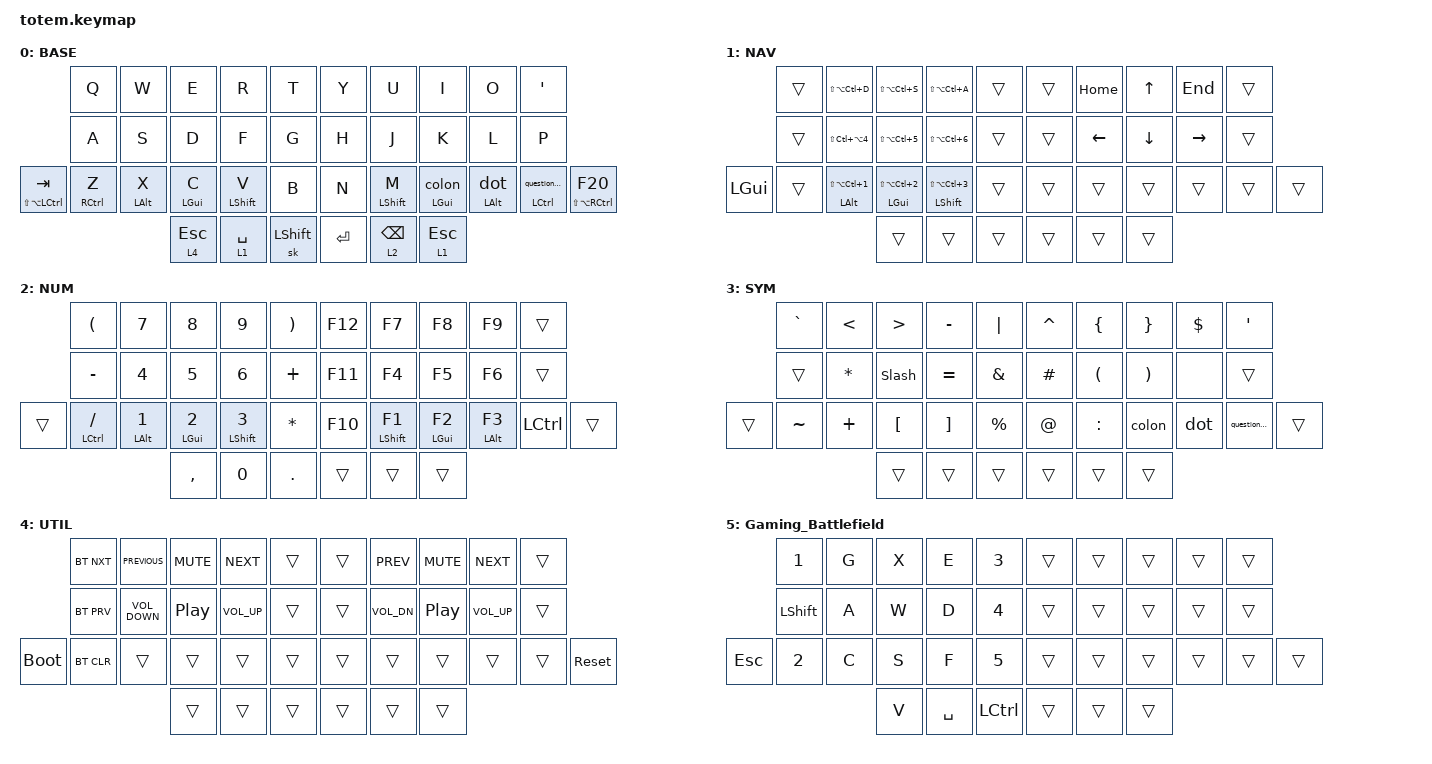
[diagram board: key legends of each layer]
//
//                                                        ▀▀▀▀▀     ▀▀▀▀▀          ▀▀█▀▀
//                                                        ▄▀▀▀▄  ▄  ▄▀▀▀▄  ▄  ▄▀▀▀▄  █  ▄▀▀▀▄
//                                                        █   █  █  █   █  █  █   █  █  █   █
//                                                         ▀▀▀   █   ▀▀▀   █   ▀▀▀   ▀   ▀▀▀
//                                                               █      ▄▄▄█▄▄▄    █   █  
//                                                               ▀      █  █  █     █▄█
//                                                             ▀▀▀▀▀    █  █  █      ▀
//                                                                      ▀  ▀  ▀
//
// ▄▄▄▄▄▄▄▄▄▄▄▄▄▄▄▄▄▄▄▄▄▄▄▄▄▄▄▄▄▄▄▄▄▄▄▄▄▄▄▄▄▄▄▄▄▄▄▄▄▄▄▄▄▄▄▄▄▄▄▄▄▄▄▄▄▄▄▄▄▄▄▄▄▄▄▄▄▄▄▄▄▄▄▄▄▄▄▄▄▄▄▄▄▄▄▄▄▄▄▄▄▄▄▄▄▄▄▄▄▄▄▄▄▄▄▄▄▄▄▄▄▄▄▄▄▄▄▄▄▄▄▄▄▄▄▄▄▄▄▄▄▄▄▄▄▄▄▄▄

#include <behaviors.dtsi>
#include <dt-bindings/zmk/bt.h>
#include <dt-bindings/zmk/keys.h>

#define BASE 0
#define NAV  1
#define SYM  2
#define ADJ  3
#define TVP1 4
#define TVP2 5

&mt {
    quick-tap-ms = <100>;
    global-quick-tap;
    flavor = "tap-preferred";
    tapping-term-ms = <170>;
};

&lt { quick-tap-ms = <220>; };

/ {
    combos {
        compatible = "zmk,combos";

        Copy {
            bindings = <&kp LG(C)>;
            key-positions = <22 23>;
            timeout-ms = <25>;
        };

        Paste {
            bindings = <&kp LG(V)>;
            key-positions = <23 24>;
            timeout-ms = <25>;
        };

        Cut {
            bindings = <&kp LG(X)>;
            key-positions = <22 24>;
        };

        CapsLock {
            bindings = <&kp CAPSLOCK>;
            key-positions = <11 12 13 10>;
        };

        Hyper {
            bindings = <&sk LS(LA(LC(LEFT_GUI)))>;
            key-positions = <20 33>;
        };

        Smileys {
            bindings = <&kp LC(LG(SPACE))>;
            key-positions = <11 12>;
            timeout-ms = <25>;
        };

        Spotlight {
            bindings = <&kp LG(SPACE)>;
            key-positions = <12 13>;
            timeout-ms = <25>;
        };

        BF6_Grenade {
            bindings = <&kp R>;
            key-positions = <11 12 13>;
            layers = <5>;
        };

        BracketOpen {
            bindings = <&kp LEFT_BRACKET>;
            key-positions = <6 7>;
            timeout-ms = <25>;
        };

        BracketClosed {
            bindings = <&kp RIGHT_BRACKET>;
            key-positions = <7 8>;
            timeout-ms = <25>;
        };

        BraceOpen {
            bindings = <&kp LEFT_PARENTHESIS>;
            key-positions = <16 17>;
            timeout-ms = <25>;
        };

        BraceClosed {
            bindings = <&kp RIGHT_PARENTHESIS>;
            key-positions = <17 18>;
            timeout-ms = <25>;
        };

        CurlyOpen {
            bindings = <&kp LEFT_BRACE>;
            key-positions = <27 28>;
            timeout-ms = <25>;
        };

        CurlyClosed {
            bindings = <&kp RIGHT_BRACE>;
            key-positions = <29 28>;
            timeout-ms = <25>;
        };

        LesserThan {
            bindings = <&kp LESS_THAN>;
            key-positions = <15 16>;
            timeout-ms = <25>;
        };

        GreaterThan {
            bindings = <&kp GREATER_THAN>;
            key-positions = <18 19>;
            timeout-ms = <25>;
        };

        Caret {
            bindings = <&kp CARET>;
            key-positions = <5 15>;
        };

        Underscore {
            bindings = <&kp UNDERSCORE>;
            key-positions = <15 26>;
        };

        Plus {
            bindings = <&kp PLUS>;
            key-positions = <6 16>;
        };

        Minus {
            bindings = <&kp MINUS>;
            key-positions = <16 27>;
        };

        Asterix {
            bindings = <&kp ASTERISK>;
            key-positions = <7 17>;
        };

        Slash {
            bindings = <&kp SLASH>;
            key-positions = <17 28>;
        };

        Ampersand {
            bindings = <&kp AMPERSAND>;
            key-positions = <8 18>;
        };

        Pipe {
            bindings = <&kp PIPE>;
            key-positions = <18 29>;
        };

        At {
            bindings = <&kp AT_SIGN>;
            key-positions = <1 11>;
        };

        Hash {
            bindings = <&kp HASH>;
            key-positions = <2 12>;
        };

        Dollar {
            bindings = <&kp DOLLAR>;
            key-positions = <3 13>;
        };

        Percent {
            bindings = <&kp PERCENT>;
            key-positions = <4 14>;
        };

        Grave {
            bindings = <&kp GRAVE>;
            key-positions = <11 22>;
        };

        Backslash {
            bindings = <&kp BACKSLASH>;
            key-positions = <23 12>;
        };

        Equal {
            bindings = <&kp EQUAL>;
            key-positions = <13 24>;
        };

        Tilde {
            bindings = <&kp TILDE>;
            key-positions = <14 25>;
        };

        Gaming_Layer {
            bindings = <&tog 5>;
            key-positions = <16 17 18>;
        };

        Screenshot {
            bindings = <&kp LG(LC(LS(NUMBER_4)))>;
            key-positions = <1 2 3>;
        };
    };

    macros {
        gif: gif {
            label = "giphy";
            compatible = "zmk,behavior-macro";
            #binding-cells = <0>;
            bindings =
                <&macro_press>,
                <&kp LSHFT>,
                <&macro_tap>,
                <&kp N2>,
                <&macro_release>,
                <&kp LSHFT>,
                <&macro_tap>,
                <&kp G &kp I &kp F>;
        };
    };

    behaviors {
        dot: dot {
            compatible = "zmk,behavior-mod-morph";
            label = "DOT";
            bindings = <&kp PERIOD>, <&kp COLON>;

            #binding-cells = <0>;
            mods = <(MOD_LSFT)>;
        };

        colon: colon {
            compatible = "zmk,behavior-mod-morph";
            label = "COLON";
            bindings = <&kp COMMA>, <&kp SEMICOLON>;

            #binding-cells = <0>;
            mods = <(MOD_LSFT)>;
        };

        questionmark: questionmark {
            compatible = "zmk,behavior-mod-morph";
            label = "QUESTIONMARK";
            bindings = <&kp QUESTION>, <&kp EXCLAMATION>;

            #binding-cells = <0>;
            mods = <(MOD_LSFT)>;
        };

        HoldTapHRM: HoldTapHRM {
            compatible = "zmk,behavior-hold-tap";
            label = "HOLDTAPHRM";
            bindings = <&kp>, <&kp>;

            #binding-cells = <2>;
            tapping-term-ms = <280>;
            quick-tap-ms = <175>;
            require-prior-idle-ms = <150>;
            flavor = "balanced";
            hold-trigger-on-release;
        };

        Slash: Slash {
            compatible = "zmk,behavior-mod-morph";
            label = "SLASH";
            bindings = <&kp SLASH>, <&kp BACKSLASH>;

            #binding-cells = <0>;
            mods = <(MOD_LSFT)>;
        };

        HoldTapDot: HoldTapDot {
            compatible = "zmk,behavior-hold-tap";
            label = "HOLDTAPDOT";
            bindings = <&kp>, <&dot>;

            #binding-cells = <2>;
            tapping-term-ms = <280>;
            hold-trigger-on-release;
            flavor = "balanced";
            require-prior-idle-ms = <150>;
            quick-tap-ms = <175>;
        };

        HoldTapColon: HoldTapColon {
            compatible = "zmk,behavior-hold-tap";
            label = "HOLDTAPCOLON";
            bindings = <&kp>, <&colon>;

            #binding-cells = <2>;
            tapping-term-ms = <280>;
            quick-tap-ms = <175>;
            require-prior-idle-ms = <150>;
            flavor = "balanced";
            hold-trigger-on-release;
        };

        HoldTapQuestion: HoldTapQuestion {
            compatible = "zmk,behavior-hold-tap";
            label = "HOLDTAPQUESTION";
            bindings = <&kp>, <&questionmark>;

            #binding-cells = <2>;
            tapping-term-ms = <280>;
            quick-tap-ms = <175>;
            require-prior-idle-ms = <150>;
            flavor = "balanced";
            hold-trigger-on-release;
        };

        TabAero: TabAero {
            compatible = "zmk,behavior-hold-tap";
            label = "TABAERO";
            bindings = <&kp>, <&kp>;

            #binding-cells = <2>;
            tapping-term-ms = <200>;
            quick-tap-ms = <0>;
            require-prior-idle-ms = <0>;
            flavor = "hold-preferred";
        };
    };

    keymap {
        compatible = "zmk,keymap";

        // ▄▄▄▄▄▄▄▄▄▄▄▄▄▄▄▄▄▄▄▄▄▄▄▄▄▄▄▄▄▄▄▄▄▄▄▄▄▄▄▄▄▄▄▄▄▄▄▄▄▄▄▄▄▄▄▄▄▄▄▄▄▄▄▄▄▄▄▄▄▄▄▄▄▄▄▄▄▄▄▄▄▄▄▄▄▄▄▄▄▄▄▄▄▄▄▄▄▄▄▄▄▄▄▄▄▄▄▄▄▄▄▄▄▄▄▄▄▄▄▄▄▄▄▄▄▄▄▄▄▄▄▄▄▄▄▄▄▄▄▄▄▄▄▄▄▄▄▄▄

        Colemak-DH {
            // ┏━━━━━━━━━━━━━━━━━━━━━━━━━━━━━━━━━━━━━━━┓

            label = "BASE";

            // ┗━━━━━━━━━━━━━━━━━━━━━━━━━━━━━━━━━━━━━━━┛
            //             ┏━━━━━━━━━━━┳━━━━━━━━━━━┳━━━━━━━━━━━┳━━━━━━━━━━━┳━━━━━━━━━━━┓   ┏━━━━━━━━━━━┳━━━━━━━━━━━┳━━━━━━━━━━━┳━━━━━━━━━━━┳━━━━━━━━━━━┓
            //             ┃     Q     ┃     W     ┃     F     ┃     P     ┃     G     ┃   ┃     J     ┃     L     ┃     U     ┃     Y     ┃     ;     ┃
            //             ┣━━━━━━━━━━━╋━━━━━━━━━━━╋━━━━━━━━━━━╋━━━━━━━━━━━╋━━━━━━━━━━━┫   ┣━━━━━━━━━━━╋━━━━━━━━━━━╋━━━━━━━━━━━╋━━━━━━━━━━━╋━━━━━━━━━━━┫
            //             ┃     A     ┃     R     ┃     S     ┃     T     ┃     D     ┃   ┃     H     ┃     N     ┃     E     ┃     I     ┃     O     ┃
            // ┏━━━━━━━━━━━╋━━━━━━━━━━━╋━━━━━━━━━━━╋━━━━━━━━━━━╋━━━━━━━━━━━╋━━━━━━━━━━━┫   ┣━━━━━━━━━━━╋━━━━━━━━━━━╋━━━━━━━━━━━╋━━━━━━━━━━━╋━━━━━━━━━━━╋━━━━━━━━━━━┓
            // ┃     Q     ┃     Z     ┃     X     ┃     C     ┃     V     ┃     B     ┃   ┃     K     ┃     M     ┃     ,     ┃     .     ┃     /     ┃     \     ┃
            // ┗━━━━━━━━━━━┻━━━━━━━━━━━┻━━━━━━━━━━━╋━━━━━━━━━━━╋━━━━━━━━━━━╋━━━━━━━━━━━┫   ┣━━━━━━━━━━━╋━━━━━━━━━━━╋━━━━━━━━━━━╋━━━━━━━━━━━┻━━━━━━━━━━━┻━━━━━━━━━━━┛
            //                                     ┃    DEL    ┃    TAB    ┃    SPC    ┃   ┃   ENTER   ┃           ┃   BSPC    ┃
            //                                     ┗━━━━━━━━━━━┻━━━━━━━━━━━┻━━━━━━━━━━━┛   ┗━━━━━━━━━━━┻━━━━━━━━━━━┻━━━━━━━━━━━┛

            bindings = <
                            &kp Q                &kp W                   &kp E                   &kp R                     &kp T             &kp Y      &kp U                     &kp I                     &kp O                   &kp APOSTROPHE
                            &kp A                &kp S                   &kp D                   &kp F                     &kp G             &kp H      &kp J                     &kp K                     &kp L                   &kp P
&TabAero LS(LA(LCTRL)) TAB  &HoldTapHRM RCTRL Z  &HoldTapHRM LEFT_ALT X  &HoldTapHRM LEFT_GUI C  &HoldTapHRM LEFT_SHIFT V  &kp B             &kp N      &HoldTapHRM LEFT_SHIFT M  &HoldTapColon LEFT_GUI 0  &HoldTapDot LEFT_ALT 0  &HoldTapQuestion LCTRL 0  &TabAero LS(LA(RCTRL)) F20
                                                                         &lt 4 ESCAPE            &lt 1 SPACE               &sk LEFT_SHIFT    &kp ENTER  &lt 2 BACKSPACE           &lt 1 ESCAPE
            >;
        };

        Navigation {
            bindings = <
              &trans  &kp LS(LA(LC(D)))                          &kp LS(LA(LC(S)))                          &kp LS(LA(LC(A)))                            &trans    &trans  &kp HOME  &kp UP_ARROW  &kp END    &trans
              &trans  &kp LS(LC(LA(NUMBER_4)))                   &kp LS(LA(LC(N5)))                         &kp LS(LA(LC(NUMBER_6)))                     &trans    &trans  &kp LEFT  &kp DOWN      &kp RIGHT  &trans
&kp LEFT_GUI  &trans  &HoldTapHRM LEFT_ALT LS(LA(LC(NUMBER_1)))  &HoldTapHRM LEFT_GUI LS(LA(LC(NUMBER_2)))  &HoldTapHRM LEFT_SHIFT LS(LA(LC(NUMBER_3)))  &trans    &trans  &trans    &trans        &trans     &trans  &trans
                                                                 &trans                                     &trans                                       &trans    &trans  &trans    &trans
            >;

            label = "NAV";
        };

        Numbers {
            bindings = <
        &kp LEFT_PARENTHESIS     &kp N7                         &kp N8                         &kp N9                           &kp RIGHT_PARENTHESIS    &kp F12  &kp F7                     &kp F8                   &kp F9                   &trans
        &kp MINUS                &kp NUMBER_4                   &kp N5                         &kp NUMBER_6                     &kp PLUS                 &kp F11  &kp F4                     &kp F5                   &kp F6                   &trans
&trans  &HoldTapHRM LCTRL SLASH  &HoldTapHRM LEFT_ALT NUMBER_1  &HoldTapHRM LEFT_GUI NUMBER_2  &HoldTapHRM LEFT_SHIFT NUMBER_3  &kp ASTERISK             &kp F10  &HoldTapHRM LEFT_SHIFT F1  &HoldTapHRM LEFT_GUI F2  &HoldTapHRM LEFT_ALT F3  &kp LCTRL  &trans
                                                                &kp COMMA                      &kp N0                           &kp PERIOD               &trans   &trans                     &trans
            >;

            label = "NUM";
        };

        Symbol {
            bindings = <
        &kp GRAVE  &kp LESS_THAN  &kp GREATER_THAN  &kp MINUS          &kp PIPE         &kp CARET    &kp LEFT_BRACE        &kp RIGHT_BRACE        &kp DOLLAR  &kp SQT
        &trans     &kp ASTERISK   &Slash            &kp EQUAL          &kp AMPERSAND    &kp HASH     &kp LEFT_PARENTHESIS  &kp RIGHT_PARENTHESIS  &none       &trans
&trans  &kp TILDE  &kp PLUS       &kp LEFT_BRACKET  &kp RIGHT_BRACKET  &kp PERCENT      &kp AT_SIGN  &kp COLON             &colon                 &dot        &questionmark  &trans
                                  &trans            &trans             &trans           &trans       &trans                &trans
            >;

            label = "SYM";
        };

        Utility {
            bindings = <
             &bt BT_NXT  &kp C_PREVIOUS     &kp K_MUTE        &kp C_NEXT       &trans    &trans  &kp C_PREV    &kp K_MUTE        &kp C_NEXT       &trans
             &bt BT_PRV  &kp C_VOLUME_DOWN  &kp C_PLAY_PAUSE  &kp C_VOLUME_UP  &trans    &trans  &kp C_VOL_DN  &kp C_PLAY_PAUSE  &kp C_VOLUME_UP  &trans
&bootloader  &bt BT_CLR  &trans             &trans            &trans           &trans    &trans  &trans        &trans            &trans           &trans  &sys_reset
                                            &trans            &trans           &trans    &trans  &trans        &trans
            >;

            label = "UTIL";
        };

        Gaming_Battlefield {
            bindings = <
            &kp NUMBER_1    &kp G  &kp X  &kp E      &kp NUMBER_3    &trans  &trans  &trans  &trans  &trans
            &kp LEFT_SHIFT  &kp A  &kp W  &kp D      &kp NUMBER_4    &trans  &trans  &trans  &trans  &trans
&kp ESCAPE  &kp NUMBER_2    &kp C  &kp S  &kp F      &kp N5          &trans  &trans  &trans  &trans  &trans  &trans
                                   &kp V  &kp SPACE  &kp LCTRL       &trans  &trans  &trans
            >;
        };
    };
};
